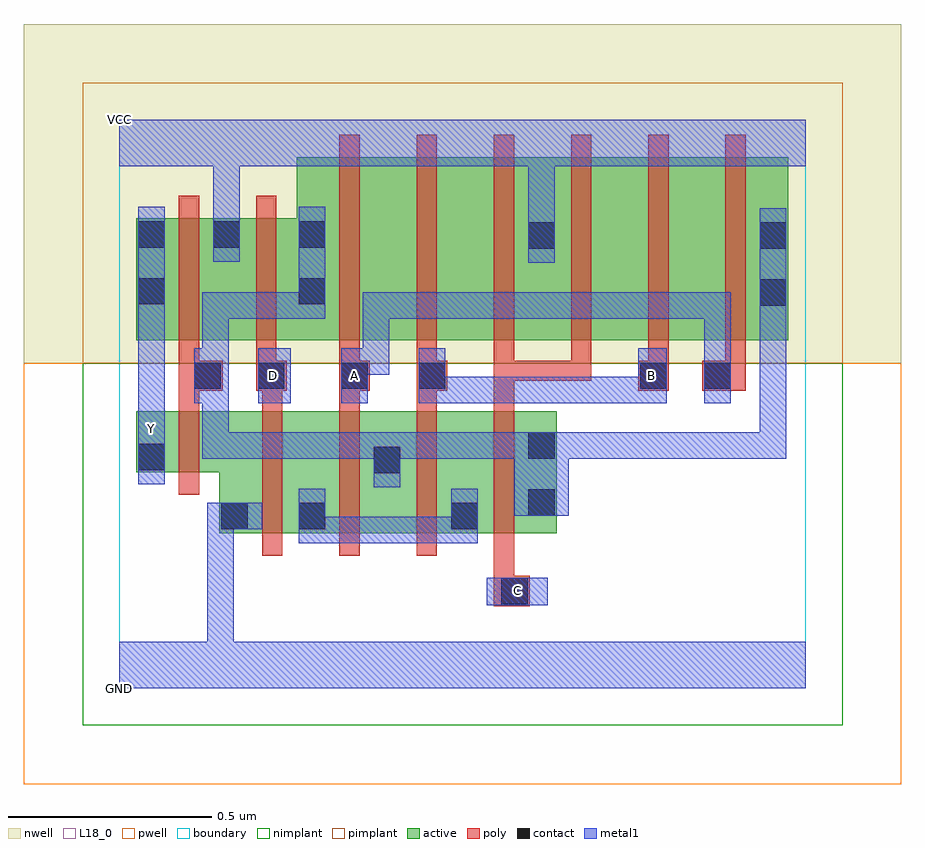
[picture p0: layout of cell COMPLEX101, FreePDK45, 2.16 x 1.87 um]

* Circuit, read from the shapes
.subckt COMPLEX101 A B C D GND VCC Y
M1 GND n1 Y VSUBS nfet w=0.15u l=0.05u
M2 n2 D GND VSUBS nfet w=0.3u l=0.05u
M3 n1 A n2 VSUBS nfet w=0.3u l=0.05u
M4 n2 B n1 VSUBS nfet w=0.3u l=0.05u
M5 n1 C n2 VSUBS nfet w=0.3u l=0.05u
M6 VCC n1 Y n3 pfet w=0.3u l=0.05u
M7 n1 D VCC n3 pfet w=0.3u l=0.05u
M8 n4 A n1 n3 pfet w=0.45u l=0.05u
M9 n5 B n4 n3 pfet w=0.45u l=0.05u
M10 VCC C n5 n3 pfet w=0.45u l=0.05u
M11 n6 C VCC n3 pfet w=0.45u l=0.05u
M12 n7 B n6 n3 pfet w=0.45u l=0.05u
M13 n1 A n7 n3 pfet w=0.45u l=0.05u
.ends

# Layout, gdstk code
import gdstk
lib = gdstk.Library(unit=1e-6, precision=1e-09)
def R(c, l, rs):  # rectangles x0, y0, x1, y1
    for r in rs: c.add(gdstk.rectangle(r[:2], r[2:], *l))
def A(c, l, x, y, w, h, nx, ny, dx, dy):  # array of equal rectangles
    R(c, l, [(x+i*dx, y+j*dy, x+i*dx+w, y+j*dy+h) for i in range(nx) for j in range(ny)])
active = (1, 0)
pwell = (2, 0)
nwell = (3, 0)
nimplant = (4, 0)
pimplant = (5, 0)
poly = (9, 0)
contact = (10, 0)
metal1 = (11, 0)
L18_0 = (18, 0)
boundary = (235, 0)

complex101 = lib.new_cell('COMPLEX101')
R(complex101, active, [(0.247,0.382,0.512,0.682), (0.437,0.382,0.512,0.547), (0.437,0.382,0.697,0.682), (0.622,0.382,0.887,0.682), (0.622,0.382,0.697,0.6), (0.812,0.382,1.077,0.682), (0.812,0.382,0.887,0.547), (0.247,0.387,0.322,0.547), (1.002,0.407,1.077,0.682), (0.042,0.532,0.322,0.682), (0.042,0.532,0.117,0.682), (0.042,0.857,0.302,1.157), (0.042,0.857,0.117,1.155), (0.227,0.857,0.512,1.157), (0.227,0.857,0.302,1.157), (0.437,0.857,0.512,1.2), (0.437,0.857,0.662,1.307), (0.662,0.857,0.852,1.307), (0.852,0.857,1.077,1.307), (1.002,0.857,1.232,1.307), (1.002,0.857,1.077,1.307), (1.232,0.857,1.422,1.307), (1.422,0.857,1.647,1.307), (1.572,0.857,1.647,1.2)])
R(complex101, pwell, [(-0.235,-0.235,1.925,0.8)])
R(complex101, nwell, [(-0.235,0.8,1.925,1.635)])
R(complex101, nimplant, [(-0.09,-0.09,1.78,0.8)])
R(complex101, pimplant, [(-0.09,0.8,1.78,1.49)])
A(complex101, poly, 0.352, 0.327, 0.05, 0.41, 4, 1, 0.19, 0)
A(complex101, poly, 0.352, 0.687, 0.05, 0.095, 3, 1, 0.19, 0)
A(complex101, poly, 0.542, 0.757, 0.05, 0.095, 6, 1, 0.19, 0)
A(complex101, poly, 0.542, 0.802, 0.05, 0.56, 6, 1, 0.19, 0)
R(complex101, poly, [(0.922,0.202,1.01,0.277), (0.922,0.227,0.972,0.377), (0.147,0.477,0.197,0.737), (0.147,0.687,0.197,0.782), (0.922,0.687,0.972,0.807), (0.147,0.732,0.255,0.807), (0.337,0.732,0.412,0.807), (0.542,0.732,0.617,0.807), (0.732,0.732,0.807,0.807), (1.277,0.732,1.352,0.807), (1.435,0.732,1.542,0.807), (0.147,0.757,0.197,0.852), (0.337,0.757,0.387,0.852), (0.922,0.757,1.162,0.807), (0.922,0.757,0.972,0.807), (0.922,0.757,0.972,0.807), (0.922,0.757,0.972,0.807), (1.112,0.757,1.162,0.807), (0.147,0.802,0.197,1.212), (0.337,0.802,0.387,1.212)])
R(complex101, contact, [(0.94,0.207,1.005,0.272), (0.252,0.392,0.317,0.457), (0.442,0.392,0.507,0.457), (0.817,0.392,0.882,0.457), (1.007,0.425,1.072,0.49), (0.627,0.53,0.692,0.595), (0.047,0.537,0.112,0.602), (1.007,0.565,1.072,0.63), (0.185,0.737,0.25,0.802), (0.342,0.737,0.407,0.802), (0.547,0.737,0.612,0.802), (0.737,0.737,0.802,0.802), (1.282,0.737,1.347,0.802), (1.44,0.737,1.505,0.802), (1.577,0.942,1.642,1.007), (0.047,0.945,0.112,1.01), (0.442,0.945,0.507,1.01), (1.007,1.082,1.072,1.147), (1.577,1.082,1.642,1.147), (0.047,1.085,0.112,1.15), (0.232,1.085,0.297,1.15), (0.442,1.085,0.507,1.15)])
R(complex101, metal1, [(0,0,1.69,0.115), (0.217,0.05,0.282,0.115), (0.217,0.05,0.282,0.115), (0.217,0.05,0.282,0.115), (0.217,0.05,0.282,0.115), (0.217,0.05,0.282,0.115), (0.217,0.05,0.282,0.115), (0.217,0.05,0.282,0.457), (0.905,0.205,1.055,0.272), (0.442,0.357,0.507,0.492), (0.442,0.357,0.645,0.422), (0.58,0.357,0.645,0.422), (0.58,0.357,0.645,0.422), (0.58,0.357,0.645,0.422), (0.58,0.357,0.802,0.422), (0.737,0.357,0.802,0.422), (0.737,0.357,0.882,0.422), (0.817,0.357,0.882,0.492), (0.217,0.392,0.352,0.457), (0.972,0.425,1.107,0.63), (0.627,0.495,0.692,0.63), (0.047,0.502,0.112,0.637), (0.205,0.565,0.27,0.63), (0.205,0.565,0.407,0.63), (0.205,0.565,0.27,0.837), (0.342,0.565,0.407,0.63), (0.342,0.565,0.407,0.63), (0.342,0.565,0.407,0.63), (0.342,0.565,0.665,0.63), (0.6,0.565,0.665,0.63), (0.6,0.565,0.692,0.63), (0.627,0.565,0.83,0.63), (0.765,0.565,0.83,0.63), (0.765,0.565,0.83,0.63), (0.765,0.565,0.83,0.63), (0.765,0.565,1.037,0.63), (0.972,0.565,1.037,0.63), (0.972,0.565,1.037,0.63), (1.042,0.565,1.175,0.63), (1.11,0.565,1.175,0.63), (1.11,0.565,1.367,0.63), (1.302,0.565,1.367,0.63), (1.302,0.565,1.367,0.63), (1.302,0.565,1.367,0.63), (1.302,0.565,1.505,0.63), (1.44,0.565,1.505,0.63), (1.44,0.565,1.642,0.63), (1.577,0.565,1.642,0.63), (1.577,0.565,1.642,0.63), (1.577,0.565,1.642,0.63), (1.577,0.565,1.642,0.972), (0.047,0.572,0.112,0.637), (0.047,0.572,0.112,0.707), (0.047,0.642,0.112,0.975), (0.185,0.702,0.25,0.837), (0.342,0.702,0.422,0.837), (0.547,0.702,0.612,0.837), (0.737,0.702,0.802,0.837), (0.737,0.702,0.83,0.767), (0.765,0.702,0.83,0.767), (0.765,0.702,1.037,0.767), (0.972,0.702,1.037,0.767), (0.972,0.702,1.175,0.767), (1.11,0.702,1.175,0.767), (1.11,0.702,1.175,0.767), (1.11,0.702,1.175,0.767), (1.11,0.702,1.342,0.767), (1.277,0.702,1.342,0.767), (1.277,0.702,1.342,0.767), (1.277,0.702,1.347,0.837), (1.44,0.702,1.505,0.837), (0.185,0.772,0.27,0.837), (0.205,0.772,0.27,0.837), (0.205,0.772,0.27,0.975), (0.547,0.772,0.665,0.837), (0.6,0.772,0.665,0.837), (0.6,0.772,0.665,0.975), (1.44,0.772,1.505,0.837), (1.44,0.772,1.505,0.837), (1.44,0.772,1.505,0.975), (1.577,0.907,1.642,0.972), (1.577,0.907,1.642,0.972), (1.577,0.907,1.642,1.182), (0.047,0.91,0.112,1.185), (0.205,0.91,0.27,0.975), (0.205,0.91,0.395,0.975), (0.33,0.91,0.395,0.975), (0.33,0.91,0.507,0.975), (0.442,0.91,0.507,1.185), (0.6,0.91,0.665,0.975), (0.6,0.91,0.802,0.975), (0.737,0.91,0.802,0.975), (0.737,0.91,0.83,0.975), (0.765,0.91,0.83,0.975), (0.765,0.91,1.037,0.975), (0.972,0.91,1.037,0.975), (0.972,0.91,1.175,0.975), (1.11,0.91,1.175,0.975), (1.11,0.91,1.175,0.975), (1.11,0.91,1.175,0.975), (1.11,0.91,1.312,0.975), (1.247,0.91,1.312,0.975), (1.247,0.91,1.312,0.975), (1.247,0.91,1.312,0.975), (1.247,0.91,1.505,0.975), (1.44,0.91,1.505,0.975), (1.007,1.047,1.072,1.182), (0.232,1.05,0.297,1.185), (1.007,1.117,1.072,1.35), (0.232,1.12,0.297,1.35), (0,1.285,1.69,1.4), (0.232,1.285,0.297,1.35), (0.232,1.285,0.297,1.35)])
R(complex101, L18_0, [(0,0,1.69,0.115), (0.217,0.05,0.282,0.115), (0.217,0.05,0.282,0.115), (0.217,0.05,0.282,0.115), (0.217,0.05,0.282,0.115), (0.217,0.05,0.282,0.115), (0.217,0.05,0.282,0.115), (0.217,0.05,0.282,0.457), (0.905,0.205,1.055,0.272), (0.947,0.207,1.012,0.272), (0.217,0.392,0.352,0.457), (0.047,0.502,0.112,0.637), (0.047,0.572,0.112,0.707), (0.047,0.572,0.112,0.637), (0.047,0.607,0.112,0.672), (0.047,0.642,0.112,0.975), (0.342,0.702,0.422,0.837), (0.547,0.702,0.612,0.837), (0.737,0.702,0.802,0.837), (0.737,0.702,0.83,0.767), (0.765,0.702,0.83,0.767), (0.765,0.702,1.037,0.767), (0.972,0.702,1.037,0.767), (0.972,0.702,1.175,0.767), (1.11,0.702,1.175,0.767), (1.11,0.702,1.175,0.767), (1.11,0.702,1.175,0.767), (1.11,0.702,1.342,0.767), (1.277,0.702,1.342,0.767), (1.277,0.702,1.342,0.767), (1.277,0.702,1.347,0.837), (1.44,0.702,1.505,0.837), (0.347,0.737,0.412,0.802), (0.547,0.737,0.612,0.802), (1.277,0.737,1.342,0.802), (0.547,0.772,0.665,0.837), (0.6,0.772,0.665,0.837), (0.6,0.772,0.665,0.975), (1.44,0.772,1.505,0.837), (1.44,0.772,1.505,0.837), (1.44,0.772,1.505,0.975), (0.047,0.91,0.112,1.185), (0.6,0.91,0.665,0.975), (0.6,0.91,0.802,0.975), (0.737,0.91,0.802,0.975), (0.737,0.91,0.83,0.975), (0.765,0.91,0.83,0.975), (0.765,0.91,1.037,0.975), (0.972,0.91,1.037,0.975), (0.972,0.91,1.175,0.975), (1.11,0.91,1.175,0.975), (1.11,0.91,1.175,0.975), (1.11,0.91,1.175,0.975), (1.11,0.91,1.312,0.975), (1.247,0.91,1.312,0.975), (1.247,0.91,1.312,0.975), (1.247,0.91,1.312,0.975), (1.247,0.91,1.505,0.975), (1.44,0.91,1.505,0.975), (1.007,1.047,1.072,1.182), (0.232,1.05,0.297,1.185), (1.007,1.117,1.072,1.35), (0.232,1.12,0.297,1.35), (0,1.285,1.69,1.4), (0.232,1.285,0.297,1.35), (0.232,1.285,0.297,1.35)])
R(complex101, boundary, [(0,0,1.69,1.4)])
complex101.add(gdstk.Label('A', (0.58,0.77), layer=11, texttype=0))
complex101.add(gdstk.Label('B', (1.31,0.77), layer=11, texttype=0))
complex101.add(gdstk.Label('C', (0.98,0.24), layer=11, texttype=0))
complex101.add(gdstk.Label('D', (0.38,0.77), layer=11, texttype=0))
complex101.add(gdstk.Label('Y', (0.08,0.64), layer=11, texttype=0))
complex101.add(gdstk.Label('VCC', (0,1.4), layer=11, texttype=0))
complex101.add(gdstk.Label('GND', (0,0), layer=11, texttype=0))

lib.write_gds('COMPLEX101.gds')
